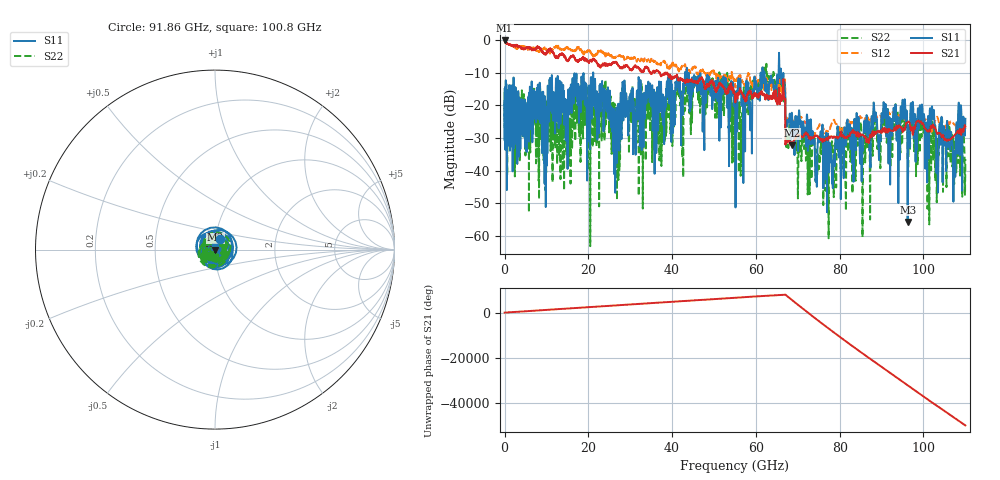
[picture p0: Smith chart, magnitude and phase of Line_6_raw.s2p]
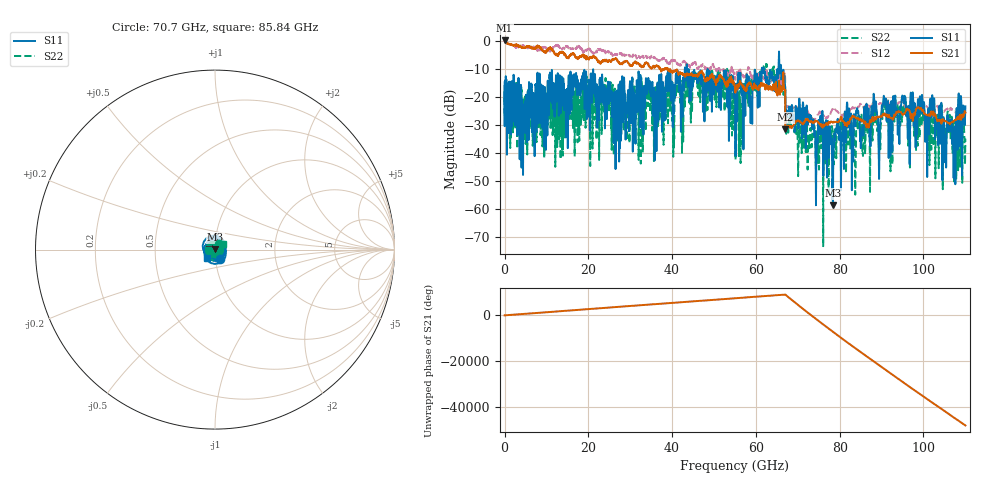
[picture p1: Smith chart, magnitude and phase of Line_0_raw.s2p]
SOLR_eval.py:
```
import skrf as rf
import numpy as np
#import scipy as sc
import pandas as pd
from scipy import linalg
import matplotlib.pyplot as plt

from skrf.media import Coaxial,MLine
from scipy.signal import savgol_filter
import time
import metas_unclib as unc

from aux_functions import load_cov, cov_to_std, sample_complex_normal
num_simulations = 5000

start_time = time.time()


cov, f, name = load_cov("unc_network")
std_nw = cov_to_std(cov) 
cov, f, name = load_cov("unc_open_p1")
std_o1 = cov_to_std(cov) 
cov, f, name = load_cov("unc_open_p2")
std_o2 = cov_to_std(cov) 
cov, f, name = load_cov("unc_short_p1")
std_s1 = cov_to_std(cov) 
cov, f, name = load_cov("unc_short_p2")
std_s2 = cov_to_std(cov) 
cov, f, name = load_cov("unc_match_p1")
std_m1 = cov_to_std(cov) 
cov, f, name = load_cov("unc_match_p2")
std_m2 = cov_to_std(cov) 

cov, f, name = load_cov("unc_open_def")
std_odef = cov_to_std(cov) 
cov, f, name = load_cov("unc_short_def")
std_sdef = cov_to_std(cov) 
cov, f, name = load_cov("unc_match_def")
std_mdef = cov_to_std(cov) 


print(std_nw)
 
short_p1 = rf.Network('MeasurementData/Short_2Port_raw.s2p')['0-40GHz'].s11
short_p2 = rf.Network('MeasurementData/Short_2Port_raw.s2p')['0-40GHz'].s22
open_p1 = rf.Network('MeasurementData/Open_2Port_raw.s2p')['0-40GHz'].s11
open_p2 = rf.Network('MeasurementData/Open_2Port_raw.s2p')['0-40GHz'].s22
load_p1 = rf.Network('MeasurementData/Match_2Port_raw.s2p')['0-40GHz'].s11
load_p2 = rf.Network('MeasurementData/Match_2Port_raw.s2p')['0-40GHz'].s22
reciprocal = rf.Network('MeasurementData/Line_6_raw.s2p')['0-40GHz']
thru = rf.Network('MeasurementData/Line_0_raw.s2p')['0-40GHz']

FWST = rf.Network('MeasurementData/FWST_Line_0.s1p')['0-40GHz']
RWST = rf.Network('MeasurementData/RWST_Line_0.s1p')['0-40GHz']

step_imp = rf.Network('MeasurementData/Impedance_raw.s2p')['0-40GHz']

match_def = rf.Network('match_0402.s1p')['0-40GHz']
short_def = rf.Network('short_pcb.s1p')['0-40GHz']
open_def = rf.Network('open_pcb.s1p')['0-40GHz']

reciprocal_def = rf.Network('MeasurementData/Line_6.s2p')['0-40GHz']

freq = short_p1.frequency

for i in range(num_simulations):


    Short = np.zeros((len(freq),2,2),dtype=complex)
    Short[0:len(freq),0,0] = sample_complex_normal(short_p1.s[:,0,0], std_s1)
    Short[0:len(freq),1,1] = sample_complex_normal(short_p2.s[:,0,0], std_s2)
    Short = rf.Network(frequency=freq,s=Short)

    Match = np.zeros((len(freq),2,2),dtype=complex)
    Match[0:len(freq),0,0] = sample_complex_normal(load_p1.s[:,0,0], std_m1)
    Match[0:len(freq),1,1] = sample_complex_normal(load_p2.s[:,0,0], std_m2)
    Match = rf.Network(frequency=freq,s=Match)

    Open = np.zeros((len(freq),2,2),dtype=complex)
    Open[0:len(freq),0,0] = sample_complex_normal(open_p1.s[:,0,0], std_o1)
    Open[0:len(freq),1,1] = sample_complex_normal(open_p2.s[:,0,0], std_o2)
    Open = rf.Network(frequency=freq,s=Open)

    Reciprocal_nw = np.zeros((len(freq),2,2),dtype=complex)
    Reciprocal_nw[0:len(freq),0,0] = sample_complex_normal(reciprocal.s[:,0,0], std_nw[:,0,0])
    Reciprocal_nw[0:len(freq),0,1] = sample_complex_normal(reciprocal.s[:,0,1], std_nw[:,0,1])
    Reciprocal_nw[0:len(freq),1,0] = sample_complex_normal(reciprocal.s[:,1,0], std_nw[:,1,0])
    Reciprocal_nw[0:len(freq),1,1] = sample_complex_normal(reciprocal.s[:,1,1], std_nw[:,1,1])
    Reciprocal_nw = rf.Network(frequency=freq,s=Reciprocal_nw)
    
    Short_def = np.zeros((len(freq),2,2),dtype=complex)
    Short_def[0:len(freq),0,0] = sample_complex_normal(short_def.s[:,0,0], std_sdef)
    Short_def[0:len(freq),1,1] = sample_complex_normal(short_def.s[:,0,0], std_sdef)
    Short_def = rf.Network(frequency=freq,s=Short_def)

    Match_def = np.zeros((len(freq),2,2),dtype=complex)
    Match_def[0:len(freq),0,0] = sample_complex_normal(match_def.s[:,0,0], std_mdef)
    Match_def[0:len(freq),1,1] = sample_complex_normal(match_def.s[:,0,0], std_m2)
    Match_def = rf.Network(frequency=freq,s=Match_def)

    Open_def = np.zeros((len(freq),2,2),dtype=complex)
    Open_def[0:len(freq),0,0] = sample_complex_normal(open_def.s[:,0,0], std_odef)
    Open_def[0:len(freq),1,1] = sample_complex_normal(open_def.s[:,0,0], std_odef)
    Open_def = rf.Network(frequency=freq,s=Open_def)

    
    SOLT_AB = rf.calibration.UnknownThru(ideals=[Open_def,Short_def,Match_def,reciprocal_def],
                                        measured=[Open,Short,Match,Reciprocal_nw],
                                        switch_terms=[FWST,RWST])

    SOLT_AB.run()


    DUT = SOLT_AB.apply_cal(step_imp)

    
    DUT.write_touchstone(f"SOLR_Folder/DUT_{i}.s2p")

    if i == 0: 
        one_cycle_time = time.time() - start_time
    print(f"Simulation {i} of {num_simulations} completed.")
    print(f"Estimated time remaining: {(num_simulations-i)*one_cycle_time:.2f} seconds.")
```
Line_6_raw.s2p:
#  HZ  S  RI  R  50.00
! Rohde & Schwarz ZVA67 4Ports - Version 4.11 - 1305.7002k04 SN: 101032
! Date: 2026-02-18 15:38:19
! Measurements: S11 S21 S12 S22
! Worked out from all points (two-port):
!   5500 points, 20 MHz to 110 GHz, reference 50 ohm
!   highest |S21| = -0.05 dB at 20 MHz (marker M1); lowest = -32.3 dB at 68.54 GHz (marker M2)
!   |S21| within 3 dB of the highest: start of sweep to 6.512 GHz; 6.942 GHz to 8.786 GHz (1.844 GHz wide, 23.5 % of centre)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
!   lowest |S11| = -55.8 dB at 96.22 GHz (marker M3), VSWR 1.00, Z = 50.1 - j0.082 ohm
!   |S11| at or under -10 dB: start of sweep to 21.15 GHz; 21.17 GHz to 43.09 GHz (21.93 GHz wide, 68.2 % of centre); 66.01 GHz to end of sweep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
!   |S22| runs from -63.2 to -7.2 dB; largest |S21 - S12| = 1.9
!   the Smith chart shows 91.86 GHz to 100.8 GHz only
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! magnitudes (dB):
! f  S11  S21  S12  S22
! 20 MHz  -15.0  -0.1  -0.5  -15.9
! 24.42 GHz  -19.3  -7.7  -4.0  -17.9
! 27.08 GHz  -23.4  -7.7  -4.9  -22.3
! 28.62 GHz  -12.3  -8.3  -6.0  -15.2
! 55.02 GHz  -16.4  -17.6  -13.6  -18.2
! 62.04 GHz  -9.8  -16.8  -15.2  -9.3
! 68.54 GHz  -22.4  -32.3  -25.2  -25.9
! 78.36 GHz  -45.4  -30.0  -25.1  -35.2
! 96.22 GHz  -55.8  -25.1  -24.7  -35.8
! 107.2 GHz  -43.3  -29.6  -25.5  -32.6
! 110 GHz  -24.1  -26.5  -27.3  -36.5
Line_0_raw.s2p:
#  HZ  S  RI  R  50.00
! Rohde & Schwarz ZVA67 4Ports - Version 4.11 - 1305.7002k04 SN: 101032
! Date: 2026-02-18 15:00:35
! Measurements: S11 S21 S12 S22
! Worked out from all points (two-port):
!   5500 points, 20 MHz to 110 GHz, reference 50 ohm
!   highest |S21| = 0.05 dB at 20 MHz (marker M1); lowest = -31.6 dB at 67.02 GHz (marker M2)
!   |S21| within 3 dB of the highest: start of sweep to 7.38 GHz; 7.38 GHz to 8.78 GHz (1.4 GHz wide, 17.3 % of centre)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
!   lowest |S11| = -58.7 dB at 78.38 GHz (marker M3), VSWR 1.00, Z = 50.1 + j0.0793 ohm
!   |S11| at or under -10 dB: start of sweep to 43.05 GHz; 43.58 GHz to 61.42 GHz (17.84 GHz wide, 34 % of centre); 66.01 GHz to end of sweep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
!   |S22| runs from -73.1 to -7.6 dB; largest |S21 - S12| = 1.9
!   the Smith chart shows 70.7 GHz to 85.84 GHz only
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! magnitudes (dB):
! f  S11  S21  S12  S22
! 20 MHz  -14.9  0.0  -0.5  -15.8
! 4.54 GHz  -26.9  -2.6  -1.8  -32.5
! 16.66 GHz  -12.3  -5.0  -2.9  -21.6
! 55.02 GHz  -16.4  -17.2  -13.3  -18.4
! 62.1 GHz  -11.0  -16.0  -13.4  -10.3
! 67.02 GHz  -22.3  -31.6  -23.5  -27.0
! 78.38 GHz  -58.7  -29.2  -24.3  -38.3
! 88.16 GHz  -19.2  -28.4  -23.5  -22.2
! 102.1 GHz  -19.4  -26.4  -27.2  -24.3
! 105 GHz  -34.7  -28.6  -25.0  -35.1
! 110 GHz  -23.4  -25.6  -26.4  -34.9
